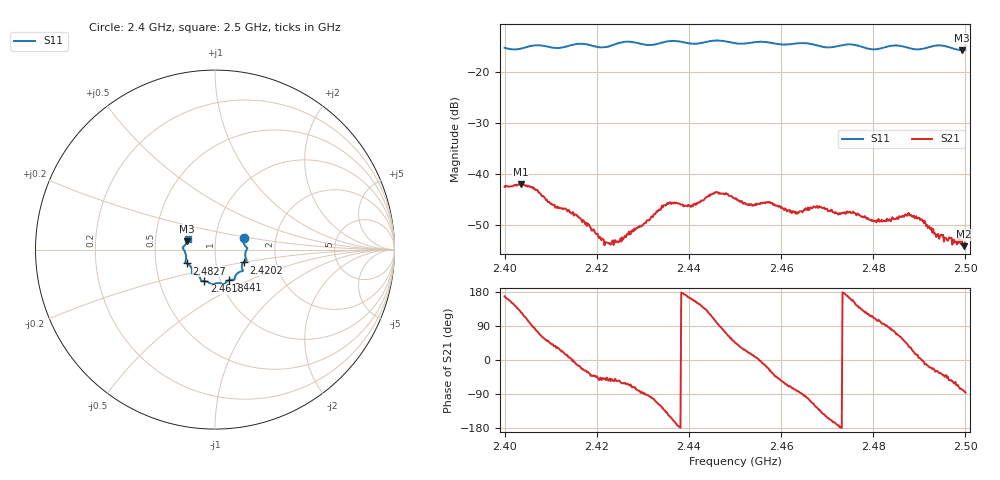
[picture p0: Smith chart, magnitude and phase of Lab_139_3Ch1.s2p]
# Hz S RI R 50
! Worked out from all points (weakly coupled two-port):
!   601 points, 2.4 GHz to 2.5 GHz, reference 50 ohm
!   highest |S21| = -42.06 dB at 2.4035 GHz (marker M1); lowest = -54.2 dB at 2.4997 GHz (marker M2)
!   lowest |S11| = -15.8 dB at 2.4992 GHz (marker M3), VSWR 1.39, Z = 36.4 + j3.63 ohm
!   |S11| at or under -10 dB: start of sweep to end of sweep
!   S12 and S22 are empty: the file has one direction only
!   S11 on the Smith chart (normalised r, x): 2.4 GHz: 1.36, +0.18; 2.4202 GHz: 1.36, -0.20; 2.441 GHz: 1.10, -0.39; 2.4618 GHz: 0.84, -0.30; 2.4827 GHz: 0.72, -0.11; 2.5 GHz: 0.73, +0.09
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2.4e9  0.1589 0.0628  -0.00725 0.00155  0 0  0 0
2.4035e9  0.1659 0.0237  -0.00469 0.00634  0 0  0 0
2.416667e9  0.1771 -0.061  0.00329 -0.00133  0 0  0 0
2.420167e9  0.1589 -0.0714  0.00181 -0.00184  0 0  0 0
2.422167e9  0.15 -0.0891  0.00145 -0.00152  0 0  0 0
2.424833e9  0.1537 -0.1125  0.00129 -0.00176  0 0  0 0
2.433333e9  0.1115 -0.1508  -0.00185 -0.0039  0 0  0 0
2.435833e9  0.1092 -0.1663  -0.00448 -0.00275  0 0  0 0
2.441e9  0.0788 -0.17  -0.00466 0.00185  0 0  0 0
2.445833e9  0.05 -0.1952  -0.00138 0.00648  0 0  0 0
2.45e9  0.0284 -0.1875  0.00394 0.00407  0 0  0 0
2.453333e9  -0.00314 -0.1912  0.00479 0.00147  0 0  0 0
2.4575e9  -0.0224 -0.1913  0.00471 -0.00243  0 0  0 0
2.461833e9  -0.0592 -0.1755  0.00166 -0.0041  0 0  0 0
2.466667e9  -0.0787 -0.1683  -0.00175 -0.00426  0 0  0 0
2.482667e9  -0.1559 -0.077  -0.000153 0.00348  0 0  0 0
2.483333e9  -0.1602 -0.0749  0.000205 0.00346  0 0  0 0
2.488167e9  -0.1612 -0.0481  0.00334 0.00214  0 0  0 0
2.493833e9  -0.18 0.00866  0.00214 -0.0012  0 0  0 0
2.499167e9  -0.155 0.0485  0.000509 -0.00218  0 0  0 0
2.499667e9  -0.153 0.0555  0.000285 -0.00193  0 0  0 0
2.5e9  -0.1523 0.0604  0.000138 -0.00204  0 0  0 0
